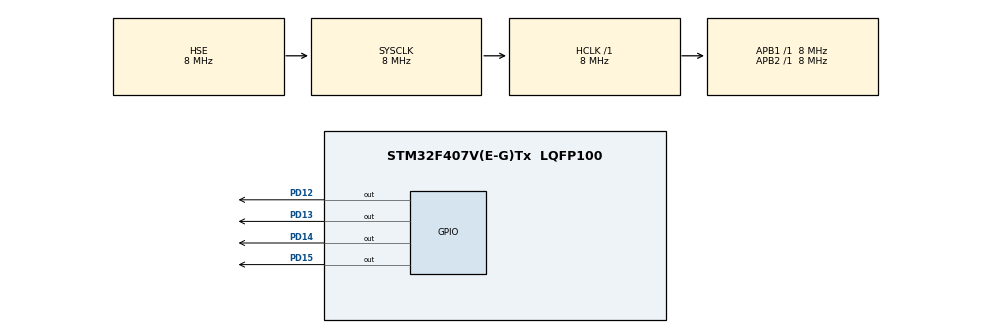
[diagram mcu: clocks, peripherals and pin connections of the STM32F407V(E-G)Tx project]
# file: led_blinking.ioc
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Mcu.Family=STM32F4
Mcu.Name=STM32F407V(E-G)Tx
Mcu.Package=LQFP100
NVIC.PriorityGroup=NVIC_PRIORITYGROUP_4
PA13.Mode=Serial_Wire
PA13.Signal=SYS_JTMS-SWDIO
PA14.Mode=Serial_Wire
PA14.Signal=SYS_JTCK-SWCLK
PD12.Signal=GPIO_Output
PD13.Signal=GPIO_Output
PD14.Signal=GPIO_Output
PD15.Signal=GPIO_Output
PH0-OSC_IN.Mode=HSE-External-Oscillator
PH0-OSC_IN.Signal=RCC_OSC_IN
PH1-OSC_OUT.Mode=HSE-External-Oscillator
PH1-OSC_OUT.Signal=RCC_OSC_OUT
ProjectManager.HeapSize=0x200
ProjectManager.StackSize=0x400
ProjectManager.TargetToolchain=STM32CubeIDE
RCC.AHBFreq_Value=8000000
RCC.APB1Freq_Value=8000000
RCC.APB1TimFreq_Value=8000000
RCC.APB2Freq_Value=8000000
RCC.APB2TimFreq_Value=8000000
RCC.CortexFreq_Value=8000000
RCC.HCLKFreq_Value=8000000
RCC.HSE_VALUE=8000000
RCC.HSI_VALUE=16000000
RCC.LSE_VALUE=32768
RCC.SYSCLKFreq_VALUE=8000000
RCC.SYSCLKSource=RCC_SYSCLKSOURCE_HSE
RCC.VCOOutputFreq_Value=192000000
board=custom

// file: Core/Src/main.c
/* USER CODE BEGIN Header */
/**
  ******************************************************************************
  * @file           : main.c
  * @brief          : Main program body
  ******************************************************************************
  * @attention
  *
  * Copyright (c) 2023 STMicroelectronics.
  * All rights reserved.
  *
  * This software is licensed under terms that can be found in the LICENSE file
  * in the root directory of this software component.
  * If no LICENSE file comes with this software, it is provided AS-IS.
  *
  ******************************************************************************
  */
/* USER CODE END Header */
#include "main.h"

void SystemClock_Config(void);
static void MX_GPIO_Init(void);

int main(void)
{

  /* MCU Configuration--------------------------------------------------------*/

  /* Reset of all peripherals, Initializes the Flash interface and the Systick. */
  HAL_Init();

  /* Configure the system clock */
  SystemClock_Config();

  /* Initialize all configured peripherals */
  MX_GPIO_Init();

  /* Infinite loop */
  while (1)
  {

    /* USER CODE BEGIN 3 */

	  HAL_GPIO_WritePin(GPIOD, GPIO_PIN_12, GPIO_PIN_SET); //PD12 yeşil yandı
	  HAL_Delay(500); //500ms gecikme
	  HAL_GPIO_WritePin(GPIOD, GPIO_PIN_12, GPIO_PIN_RESET); //PD12 yeşil söndü
	  HAL_Delay(500); //500ms gecikme
	  HAL_GPIO_WritePin(GPIOD, GPIO_PIN_13, GPIO_PIN_SET); //PD13 turuncu yandı
	  HAL_Delay(500); //500ms gecikme
	  HAL_GPIO_WritePin(GPIOD, GPIO_PIN_13, GPIO_PIN_RESET); //PD13 turuncu söndü
	  HAL_Delay(500); //500ms gecikme
	  HAL_GPIO_WritePin(GPIOD, GPIO_PIN_14, GPIO_PIN_SET); //PD14 kırmızı yandı
	  HAL_Delay(500); //500ms gecikme
	  HAL_GPIO_WritePin(GPIOD, GPIO_PIN_14, GPIO_PIN_RESET); //PD14 kırmızı söndü
	  HAL_Delay(500); //500ms gecikme
	  HAL_GPIO_WritePin(GPIOD, GPIO_PIN_15, GPIO_PIN_SET); //PD15 mavi yandı
	  HAL_Delay(500); //500ms gecikme
	  HAL_GPIO_WritePin(GPIOD, GPIO_PIN_15, GPIO_PIN_RESET); //PD15 mavi söndü
	  HAL_Delay(500); //500ms gecikme
  }
  /* USER CODE END 3 */
}

void SystemClock_Config(void)
{
  RCC_OscInitTypeDef RCC_OscInitStruct = {0};
  RCC_ClkInitTypeDef RCC_ClkInitStruct = {0};

  /** Configure the main internal regulator output voltage
  */
  __HAL_RCC_PWR_CLK_ENABLE();
  __HAL_PWR_VOLTAGESCALING_CONFIG(PWR_REGULATOR_VOLTAGE_SCALE1);

  /** Initializes the RCC Oscillators according to the specified parameters
  * in the RCC_OscInitTypeDef structure.
  */
  RCC_OscInitStruct.OscillatorType = RCC_OSCILLATORTYPE_HSE;
  RCC_OscInitStruct.HSEState = RCC_HSE_ON;
  RCC_OscInitStruct.PLL.PLLState = RCC_PLL_NONE;
  if (HAL_RCC_OscConfig(&RCC_OscInitStruct) != HAL_OK)
  {
    Error_Handler();
  }

  /** Initializes the CPU, AHB and APB buses clocks
  */
  RCC_ClkInitStruct.ClockType = RCC_CLOCKTYPE_HCLK|RCC_CLOCKTYPE_SYSCLK
                              |RCC_CLOCKTYPE_PCLK1|RCC_CLOCKTYPE_PCLK2;
  RCC_ClkInitStruct.SYSCLKSource = RCC_SYSCLKSOURCE_HSE;
  RCC_ClkInitStruct.AHBCLKDivider = RCC_SYSCLK_DIV1;
  RCC_ClkInitStruct.APB1CLKDivider = RCC_HCLK_DIV1;
  RCC_ClkInitStruct.APB2CLKDivider = RCC_HCLK_DIV1;

  if (HAL_RCC_ClockConfig(&RCC_ClkInitStruct, FLASH_LATENCY_0) != HAL_OK)
  {
    Error_Handler();
  }
}

static void MX_GPIO_Init(void)
{
  GPIO_InitTypeDef GPIO_InitStruct = {0};

  /* GPIO Ports Clock Enable */
  __HAL_RCC_GPIOH_CLK_ENABLE();
  __HAL_RCC_GPIOD_CLK_ENABLE();
  __HAL_RCC_GPIOA_CLK_ENABLE();

  /*Configure GPIO pin Output Level */
  HAL_GPIO_WritePin(GPIOD, GPIO_PIN_12|GPIO_PIN_13|GPIO_PIN_14|GPIO_PIN_15, GPIO_PIN_RESET);

  /*Configure GPIO pins : PD12 PD13 PD14 PD15 */
  GPIO_InitStruct.Pin = GPIO_PIN_12|GPIO_PIN_13|GPIO_PIN_14|GPIO_PIN_15;
  GPIO_InitStruct.Mode = GPIO_MODE_OUTPUT_PP;
  GPIO_InitStruct.Pull = GPIO_NOPULL;
  GPIO_InitStruct.Speed = GPIO_SPEED_FREQ_LOW;
  HAL_GPIO_Init(GPIOD, &GPIO_InitStruct);

}

void Error_Handler(void)
{
  __disable_irq();
  while (1)
  {
  }
}
